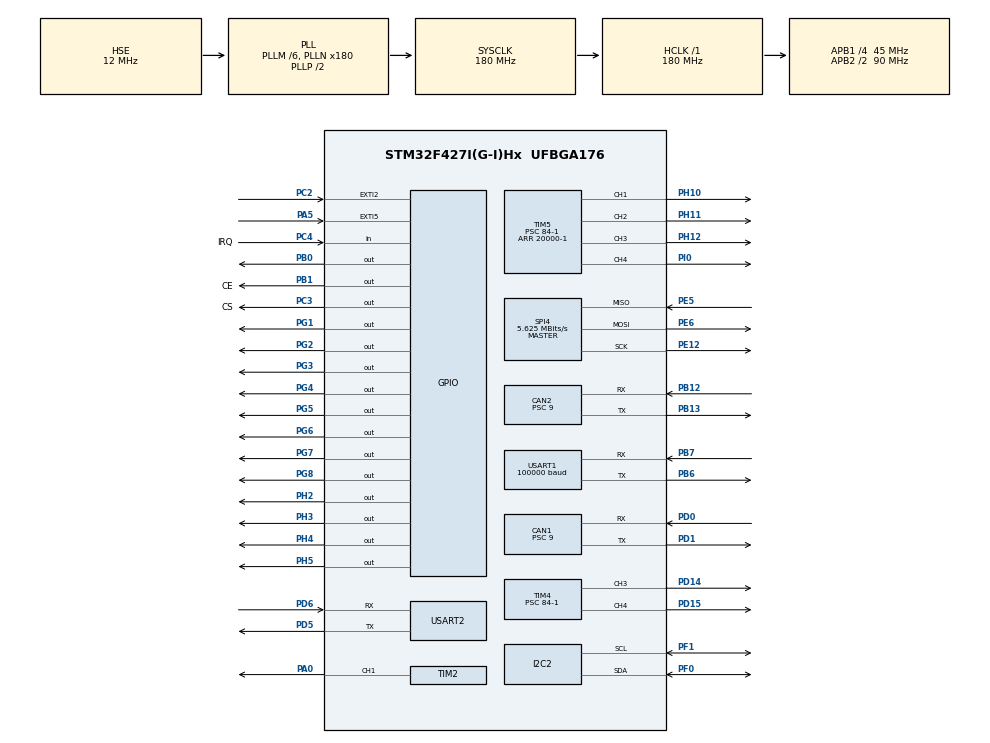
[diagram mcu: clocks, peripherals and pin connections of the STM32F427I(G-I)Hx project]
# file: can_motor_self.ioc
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CAN1.ABOM=DISABLE
CAN1.AWUM=DISABLE
CAN1.BS1=CAN_BS1_2TQ
CAN1.BS2=CAN_BS2_2TQ
CAN1.CalculateBaudRate=1000000
CAN1.CalculateTimeBit=1000
CAN1.CalculateTimeQuantum=200.0
CAN1.Prescaler=9
CAN1.TTCM=DISABLE
CAN2.BS1=CAN_BS1_2TQ
CAN2.BS2=CAN_BS2_2TQ
CAN2.CalculateBaudRate=1000000
CAN2.CalculateTimeBit=1000
CAN2.CalculateTimeQuantum=200.0
CAN2.Prescaler=9
Dma.Request0=USART2_RX
Dma.Request1=USART2_TX
Dma.Request2=USART1_RX
Dma.USART1_RX.2.Direction=DMA_PERIPH_TO_MEMORY
Dma.USART1_RX.2.FIFOMode=DMA_FIFOMODE_ENABLE
Dma.USART1_RX.2.FIFOThreshold=DMA_FIFO_THRESHOLD_FULL
Dma.USART1_RX.2.Instance=DMA2_Stream5
Dma.USART1_RX.2.MemBurst=DMA_MBURST_SINGLE
Dma.USART1_RX.2.MemDataAlignment=DMA_MDATAALIGN_BYTE
Dma.USART1_RX.2.MemInc=DMA_MINC_ENABLE
Dma.USART1_RX.2.Mode=DMA_CIRCULAR
Dma.USART1_RX.2.PeriphBurst=DMA_PBURST_SINGLE
Dma.USART1_RX.2.PeriphDataAlignment=DMA_PDATAALIGN_BYTE
Dma.USART1_RX.2.PeriphInc=DMA_PINC_DISABLE
Dma.USART1_RX.2.Priority=DMA_PRIORITY_VERY_HIGH
Dma.USART2_RX.0.Direction=DMA_PERIPH_TO_MEMORY
Dma.USART2_RX.0.FIFOMode=DMA_FIFOMODE_DISABLE
Dma.USART2_RX.0.Instance=DMA1_Stream5
Dma.USART2_RX.0.MemDataAlignment=DMA_MDATAALIGN_BYTE
Dma.USART2_RX.0.MemInc=DMA_MINC_ENABLE
Dma.USART2_RX.0.Mode=DMA_NORMAL
Dma.USART2_RX.0.PeriphDataAlignment=DMA_PDATAALIGN_BYTE
Dma.USART2_RX.0.PeriphInc=DMA_PINC_DISABLE
Dma.USART2_RX.0.Priority=DMA_PRIORITY_LOW
Dma.USART2_TX.1.Direction=DMA_MEMORY_TO_PERIPH
Dma.USART2_TX.1.FIFOMode=DMA_FIFOMODE_DISABLE
Dma.USART2_TX.1.Instance=DMA1_Stream6
Dma.USART2_TX.1.MemDataAlignment=DMA_MDATAALIGN_BYTE
Dma.USART2_TX.1.MemInc=DMA_MINC_ENABLE
Dma.USART2_TX.1.Mode=DMA_NORMAL
Dma.USART2_TX.1.PeriphDataAlignment=DMA_PDATAALIGN_BYTE
Dma.USART2_TX.1.PeriphInc=DMA_PINC_DISABLE
Dma.USART2_TX.1.Priority=DMA_PRIORITY_LOW
Mcu.Family=STM32F4
Mcu.Name=STM32F427I(G-I)Hx
Mcu.Package=UFBGA176
NVIC.CAN1_RX0_IRQn=true\:0\:0\:false\:false\:true\:true\:true\:true
NVIC.CAN2_RX0_IRQn=true\:0\:0\:false\:false\:true\:true\:true\:true
NVIC.DMA1_Stream5_IRQn=true\:0\:0\:false\:false\:true\:false\:true\:true
NVIC.DMA1_Stream6_IRQn=true\:0\:0\:false\:false\:true\:false\:true\:true
NVIC.DMA2_Stream5_IRQn=true\:0\:0\:false\:false\:true\:false\:true\:true
NVIC.PriorityGroup=NVIC_PRIORITYGROUP_4
NVIC.USART1_IRQn=true\:0\:0\:false\:false\:true\:true\:true\:true
NVIC.USART2_IRQn=true\:0\:0\:false\:false\:true\:true\:true\:true
PA0/WKUP.Signal=S_TIM2_CH1_ETR
PA1.Signal=S_TIM2_CH2
PA13.Mode=Serial_Wire
PA13.Signal=SYS_JTMS-SWDIO
PA14.Mode=Serial_Wire
PA14.Signal=SYS_JTCK-SWCLK
PA2.Signal=S_TIM2_CH3
PA5.Signal=GPXTI5
PB0.PinState=GPIO_PIN_SET
PB0.Signal=GPIO_Output
PB1.GPIO_Label=CE
PB1.GPIO_PuPd=GPIO_PULLUP
PB1.GPIO_Speed=GPIO_SPEED_FREQ_HIGH
PB1.PinState=GPIO_PIN_SET
PB1.Signal=GPIO_Output
PB12.Mode=CAN_Activate
PB12.Signal=CAN2_RX
PB13.Mode=CAN_Activate
PB13.Signal=CAN2_TX
PB6.Mode=Asynchronous
PB6.Signal=USART1_TX
PB7.Mode=Asynchronous
PB7.Signal=USART1_RX
PC14/OSC32_IN.Mode=LSE-External-Oscillator
PC14/OSC32_IN.Signal=RCC_OSC32_IN
PC15/OSC32_OUT.Mode=LSE-External-Oscillator
PC15/OSC32_OUT.Signal=RCC_OSC32_OUT
PC2.Signal=GPXTI2
PC3.GPIO_Label=CS
PC3.GPIO_PuPd=GPIO_PULLUP
PC3.GPIO_Speed=GPIO_SPEED_FREQ_HIGH
PC3.PinState=GPIO_PIN_SET
PC3.Signal=GPIO_Output
PC4.GPIO_Label=IRQ
PC4.GPIO_PuPd=GPIO_PULLUP
PC4.Signal=GPIO_Input
PD0.Mode=CAN_Activate
PD0.Signal=CAN1_RX
PD1.Mode=CAN_Activate
PD1.Signal=CAN1_TX
PD14.Signal=S_TIM4_CH3
PD15.Signal=S_TIM4_CH4
PD5.Mode=Asynchronous
PD5.Signal=USART2_TX
PD6.Mode=Asynchronous
PD6.Signal=USART2_RX
PE12.Mode=Full_Duplex_Master
PE12.Signal=SPI4_SCK
PE5.Mode=Full_Duplex_Master
PE5.Signal=SPI4_MISO
PE6.Mode=Full_Duplex_Master
PE6.Signal=SPI4_MOSI
PF0.Mode=I2C
PF0.Signal=I2C2_SDA
PF1.Mode=I2C
PF1.Signal=I2C2_SCL
PG1.GPIO_ModeDefaultOutputPP=GPIO_MODE_OUTPUT_PP
PG1.GPIO_PuPd=GPIO_PULLUP
PG1.Signal=GPIO_Output
PG2.Signal=GPIO_Output
PG3.Signal=GPIO_Output
PG4.Signal=GPIO_Output
PG5.Signal=GPIO_Output
PG6.Signal=GPIO_Output
PG7.Signal=GPIO_Output
PG8.Signal=GPIO_Output
PH0/OSC_IN.Mode=HSE-External-Oscillator
PH0/OSC_IN.Signal=RCC_OSC_IN
PH1/OSC_OUT.Mode=HSE-External-Oscillator
PH1/OSC_OUT.Signal=RCC_OSC_OUT
PH10.Signal=S_TIM5_CH1
PH11.Signal=S_TIM5_CH2
PH12.Signal=S_TIM5_CH3
PH2.GPIO_PuPd=GPIO_PULLUP
PH2.Signal=GPIO_Output
PH3.GPIO_PuPd=GPIO_PULLUP
PH3.Signal=GPIO_Output
PH4.GPIO_PuPd=GPIO_PULLUP
PH4.PinState=GPIO_PIN_SET
PH4.Signal=GPIO_Output
PH5.GPIO_PuPd=GPIO_PULLUP
PH5.PinState=GPIO_PIN_RESET
PH5.Signal=GPIO_Output
PI0.Signal=S_TIM5_CH4
ProjectManager.HeapSize=0x200
ProjectManager.StackSize=0x400
ProjectManager.TargetToolchain=MDK-ARM V5.32
RCC.48MHZClocksFreq_Value=90000000
RCC.AHBFreq_Value=180000000
RCC.APB1CLKDivider=RCC_HCLK_DIV4
RCC.APB1Freq_Value=45000000
RCC.APB1TimFreq_Value=90000000
RCC.APB2CLKDivider=RCC_HCLK_DIV2
RCC.APB2Freq_Value=90000000
RCC.APB2TimFreq_Value=180000000
RCC.CortexFreq_Value=180000000
RCC.HCLKFreq_Value=180000000
RCC.HSE_VALUE=12000000
RCC.HSI_VALUE=16000000
RCC.PLLM=6
RCC.PLLN=180
RCC.PLLSourceVirtual=RCC_PLLSOURCE_HSE
RCC.SYSCLKFreq_VALUE=180000000
RCC.SYSCLKSource=RCC_SYSCLKSOURCE_PLLCLK
RCC.VCOOutputFreq_Value=360000000
SH.S_TIM2_CH1_ETR.0=TIM2_CH1,PWM Generation1 CH1
SH.S_TIM2_CH2.0=TIM2_CH2
SH.S_TIM2_CH3.0=TIM2_CH3
SH.S_TIM4_CH3.0=TIM4_CH3,PWM Generation3 CH3
SH.S_TIM4_CH4.0=TIM4_CH4,PWM Generation4 CH4
SH.S_TIM5_CH1.0=TIM5_CH1,PWM Generation1 CH1
SH.S_TIM5_CH2.0=TIM5_CH2,PWM Generation2 CH2
SH.S_TIM5_CH3.0=TIM5_CH3,PWM Generation3 CH3
SH.S_TIM5_CH4.0=TIM5_CH4,PWM Generation4 CH4
SPI4.BaudRatePrescaler=SPI_BAUDRATEPRESCALER_16
SPI4.CLKPhase=SPI_PHASE_1EDGE
SPI4.CLKPolarity=SPI_POLARITY_LOW
SPI4.CRCCalculation=SPI_CRCCALCULATION_DISABLE
SPI4.CalculateBaudRate=5.625 MBits/s
SPI4.DataSize=SPI_DATASIZE_8BIT
SPI4.Direction=SPI_DIRECTION_2LINES
SPI4.Mode=SPI_MODE_MASTER
SPI4.VirtualType=VM_MASTER
TIM2.AutoReloadPreload=TIM_AUTORELOAD_PRELOAD_ENABLE
TIM2.Channel-PWM\ Generation1\ CH1=TIM_CHANNEL_1
TIM2.Period=2000
TIM2.Prescaler=180-1
TIM2.Pulse-PWM\ Generation1\ CH1=0
TIM4.AutoReloadPreload=TIM_AUTORELOAD_PRELOAD_ENABLE
TIM4.Channel-PWM\ Generation3\ CH3=TIM_CHANNEL_3
TIM4.Channel-PWM\ Generation4\ CH4=TIM_CHANNEL_4
TIM4.Period=20000-1
TIM4.Prescaler=84-1
TIM5.AutoReloadPreload=TIM_AUTORELOAD_PRELOAD_ENABLE
TIM5.Channel-PWM\ Generation1\ CH1=TIM_CHANNEL_1
TIM5.Channel-PWM\ Generation2\ CH2=TIM_CHANNEL_2
TIM5.Channel-PWM\ Generation3\ CH3=TIM_CHANNEL_3
TIM5.Channel-PWM\ Generation4\ CH4=TIM_CHANNEL_4
TIM5.Period=20000-1
TIM5.Prescaler=84-1
USART1.BaudRate=100000
USART1.Mode=MODE_RX
USART1.Parity=PARITY_EVEN
USART1.StopBits=STOPBITS_1
USART1.VirtualMode=VM_ASYNC
USART1.WordLength=WORDLENGTH_9B
USART2.VirtualMode=VM_ASYNC
VP_TIM2_VS_ClockSourceINT.Mode=Internal
board=custom

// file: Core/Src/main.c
/* USER CODE BEGIN Header */
/**
  ******************************************************************************
  * @file           : main.c
  * @brief          : Main program body
  ******************************************************************************
  * @attention
  *
  * Copyright (c) 2024 STMicroelectronics.
  * All rights reserved.
  *
  * This software is licensed under terms that can be found in the LICENSE file
  * in the root directory of this software component.
  * If no LICENSE file comes with this software, it is provided AS-IS.
  *
  ******************************************************************************
  */
/* USER CODE END Header */
#include "main.h"
#include "can.h"
#include "dma.h"
#include "i2c.h"
#include "spi.h"
#include "tim.h"
#include "usart.h"
#include "gpio.h"

/* USER CODE BEGIN Includes */
#include "CAN_receive.h"
#include "bsp_can.h"
#include "A_bsp.h"
#include "motor.h"
#include "Servos.h"
#include "nrf24L01.h"
#include "stdio.h"
#include "remote_control.h"
#include "tle5012b.h"
/* USER CODE END Includes */

/* USER CODE BEGIN PV */
chassis_move_t chassis_move;
int16_t DJ[4];
int16_t ZJ[2];
float angle5012;
extern uint8_t buffer[18];//遥控反馈的值

/* USER CODE END PV */

void SystemClock_Config(void);

int main(void)
{

  /* MCU Configuration--------------------------------------------------------*/

  /* Reset of all peripherals, Initializes the Flash interface and the Systick. */
  HAL_Init();

  /* Configure the system clock */
  SystemClock_Config();

  /* Initialize all configured peripherals */
  MX_GPIO_Init();
  MX_DMA_Init();
  MX_CAN1_Init();
  MX_TIM2_Init();
  MX_SPI4_Init();
  MX_USART2_UART_Init();
  MX_I2C2_Init();
  MX_TIM5_Init();
  MX_USART1_UART_Init();
  MX_CAN2_Init();
  MX_TIM4_Init();
  /* USER CODE BEGIN 2 */

	can_filter_init(&hcan1);//配置CAN过滤器
	can_filter_init(&hcan2);
	HAL_CAN_Start(&hcan1);   //开启CAN总开关
	HAL_CAN_Start(&hcan2);   //开启CAN总开关
	HAL_CAN_ActivateNotification(&hcan1, CAN_IT_RX_FIFO0_MSG_PENDING);//启动CAN1接收中断
	HAL_CAN_ActivateNotification(&hcan2, CAN_IT_RX_FIFO0_MSG_PENDING);//启动CAN2接收中断
	remote_control_Init();
  /* USER CODE END 2 */

  /* Infinite loop */
  /* USER CODE BEGIN WHILE */
	chassis_init(&chassis_move);
	sigang_Init(&chassis_move);
	servos_Init();
  while (1)
  {
		remote_control_Init();
//		angle5012= tle5012();
//		remote_control_task();
//		drive_servos1(DJ[0]);
//		drive_servos2(DJ[1]);
//		drive_servos3(DJ[2]);
//		drive_servos4(DJ[3]);
//		drive_servos_jiazhua1(ZJ[0]);
//		drive_servos_jiazhua2(ZJ[1]);
//		chassis_feedback_update(&chassis_move);//底盘数据更新
//		chassis_control_loop(&chassis_move);//底盘控制PID计算
//		CAN_cmd_chassis(chassis_move.motor_chassis[0].give_current,chassis_move.motor_chassis[1].give_current,chassis_move.motor_chassis[2].give_current,chassis_move.motor_chassis[3].give_current);
//		CAN2_cmd_chassis(chassis_move.motor_chassis[4].give_current,chassis_move.motor_chassis[5].give_current,chassis_move.motor_chassis[6].give_current,chassis_move.motor_chassis[7].give_current);
//		CAN_cmd_gimbal(chassis_move.motor_6020[0].give_current,chassis_move.motor_6020[1].give_current,0,0);
//		HAL_Delay(1);

    /* USER CODE END WHILE */

  }
}

void SystemClock_Config(void)
{
  RCC_OscInitTypeDef RCC_OscInitStruct = {0};
  RCC_ClkInitTypeDef RCC_ClkInitStruct = {0};

  /** Configure the main internal regulator output voltage
  */
  __HAL_RCC_PWR_CLK_ENABLE();
  __HAL_PWR_VOLTAGESCALING_CONFIG(PWR_REGULATOR_VOLTAGE_SCALE1);

  /** Initializes the RCC Oscillators according to the specified parameters
  * in the RCC_OscInitTypeDef structure.
  */
  RCC_OscInitStruct.OscillatorType = RCC_OSCILLATORTYPE_HSE;
  RCC_OscInitStruct.HSEState = RCC_HSE_ON;
  RCC_OscInitStruct.PLL.PLLState = RCC_PLL_ON;
  RCC_OscInitStruct.PLL.PLLSource = RCC_PLLSOURCE_HSE;
  RCC_OscInitStruct.PLL.PLLM = 6;
  RCC_OscInitStruct.PLL.PLLN = 180;
  RCC_OscInitStruct.PLL.PLLP = RCC_PLLP_DIV2;
  RCC_OscInitStruct.PLL.PLLQ = 4;
  if (HAL_RCC_OscConfig(&RCC_OscInitStruct) != HAL_OK)
  {
    Error_Handler();
  }

  /** Activate the Over-Drive mode
  */
  if (HAL_PWREx_EnableOverDrive() != HAL_OK)
  {
    Error_Handler();
  }

  /** Initializes the CPU, AHB and APB buses clocks
  */
  RCC_ClkInitStruct.ClockType = RCC_CLOCKTYPE_HCLK|RCC_CLOCKTYPE_SYSCLK
                              |RCC_CLOCKTYPE_PCLK1|RCC_CLOCKTYPE_PCLK2;
  RCC_ClkInitStruct.SYSCLKSource = RCC_SYSCLKSOURCE_PLLCLK;
  RCC_ClkInitStruct.AHBCLKDivider = RCC_SYSCLK_DIV1;
  RCC_ClkInitStruct.APB1CLKDivider = RCC_HCLK_DIV4;
  RCC_ClkInitStruct.APB2CLKDivider = RCC_HCLK_DIV2;

  if (HAL_RCC_ClockConfig(&RCC_ClkInitStruct, FLASH_LATENCY_5) != HAL_OK)
  {
    Error_Handler();
  }
}

/* USER CODE BEGIN 4 */

void HAL_UART_RxCpltCallback(UART_HandleTypeDef *huart)
{
	if(huart->Instance == USART1)
	{
		remote_control_callback();
	}
}
/* USER CODE END 4 */

void Error_Handler(void)
{
  __disable_irq();
  while (1)
  {
  }
}
